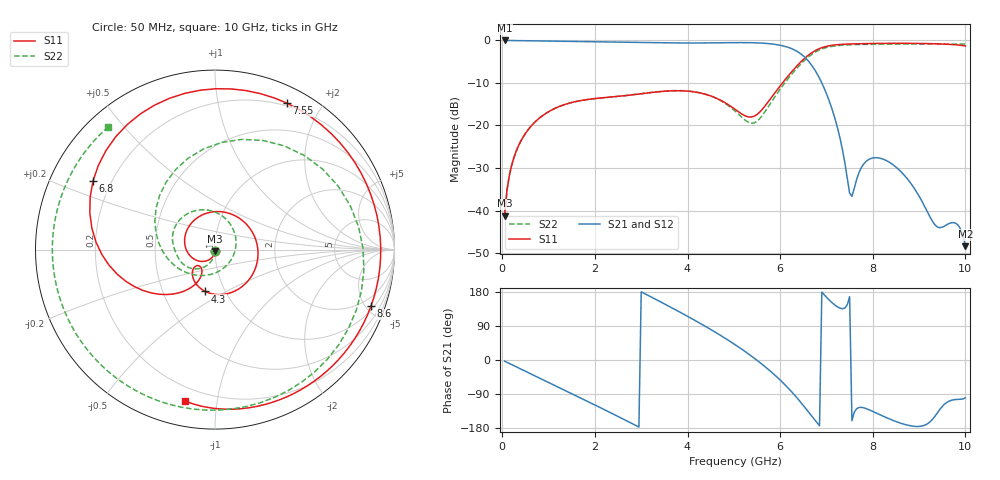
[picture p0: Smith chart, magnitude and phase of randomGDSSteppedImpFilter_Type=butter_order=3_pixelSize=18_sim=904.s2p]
! freq	dB(S11)	phase(S11)	dB(S12)	phase(S12)
!  dB(S21)	phase(S21)	dB(S22)	phase(S22)
!S-par simulation data
#  GHz  S  DB  R 50
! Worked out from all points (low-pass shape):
!   200 points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, 50 MHz to 10 GHz, reference 50 ohm
!   highest |S21| = -0.02 dB at 50 MHz (marker M1); lowest = -48.4 dB at 10 GHz (marker M2)
!   |S21| within 3 dB of the highest: start of sweep to 6.426 GHz
!   lowest |S11| = -41.2 dB at 50 MHz (marker M3), VSWR 1.02, Z = 50.1 - j0.87 ohm
!   |S11| at or under -10 dB: start of sweep to 6.051 GHz
!   |S22| runs from -41.1 to -0.9 dB; largest |S21 - S12| = 0
!   S11 on the Smith chart (normalised r, x): 50 MHz: 1.00, -0.02; 4.3 GHz: 0.81, -0.40; 6.8 GHz: 0.13, +0.26; 7.55 GHz: 0.17, +1.59; 8.6 GHz: 1.24, -5.40; 10 GHz: 0.13, -0.82
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0.05  -41.19 -85.2  -0.02 -3.0  -0.02 -3.0  -41.12 -83.7
0.2  -29.47 -103.6  -0.03 -12.0  -0.03 -12.0  -29.41 -97.1
0.5  -21.87 -128.2  -0.07 -29.8  -0.07 -29.8  -21.83 -111.7
1.15  -15.91 -179.9  -0.20 -68.2  -0.20 -68.2  -15.91 -138.1
1.75  -14.04 129.0  -0.30 -103.8  -0.30 -103.8  -14.05 -157.9
2.65  -12.99 42.1  -0.42 -158.3  -0.42 -158.3  -12.99 -179.5
3.4  -12.05 -30.4  -0.55 154.6  -0.55 154.6  -12.01 159.4
4.3  -12.42 -102.9  -0.61 94.8  -0.61 94.8  -12.40 114.0
5.05  -16.39 -139.4  -0.52 38.6  -0.52 38.6  -16.85 40.9
5.6  -16.37 -119.0  -0.64 -10.3  -0.64 -10.3  -17.85 -86.7
6.1  -9.32 -133.5  -1.40 -64.8  -1.40 -64.8  -10.01 173.1
6.4  -5.57 -160.3  -2.82 -105.1  -2.82 -105.1  -6.08 116.3
6.7  -2.78 163.8  -6.14 -150.8  -6.14 -150.8  -3.16 56.3
6.8  -2.17 150.8  -7.89 -166.1  -7.89 -166.1  -2.51 36.7
7.1  -1.18 112.7  -15.50 153.5  -15.50 153.5  -1.43 -15.7
7.55  -0.83 63.8  -36.66 -160.2  -36.66 -160.2  -1.01 -73.8
7.85  -0.75 36.2  -28.50 -127.9  -28.50 -127.9  -0.94 -102.3
8.35  -0.69 -3.0  -28.59 -155.0  -28.59 -155.0  -0.88 -139.8
8.6  -0.68 -20.0  -30.77 -166.7  -30.77 -166.7  -0.86 -155.5
9.3  -0.78 -61.5  -42.72 -155.2  -42.72 -155.2  -0.85 165.8
9.8  -1.04 -89.1  -43.04 -104.2  -43.04 -104.2  -0.85 140.8
10  -1.31 -101.1  -48.37 -99.7  -48.37 -99.7  -0.86 131.1
